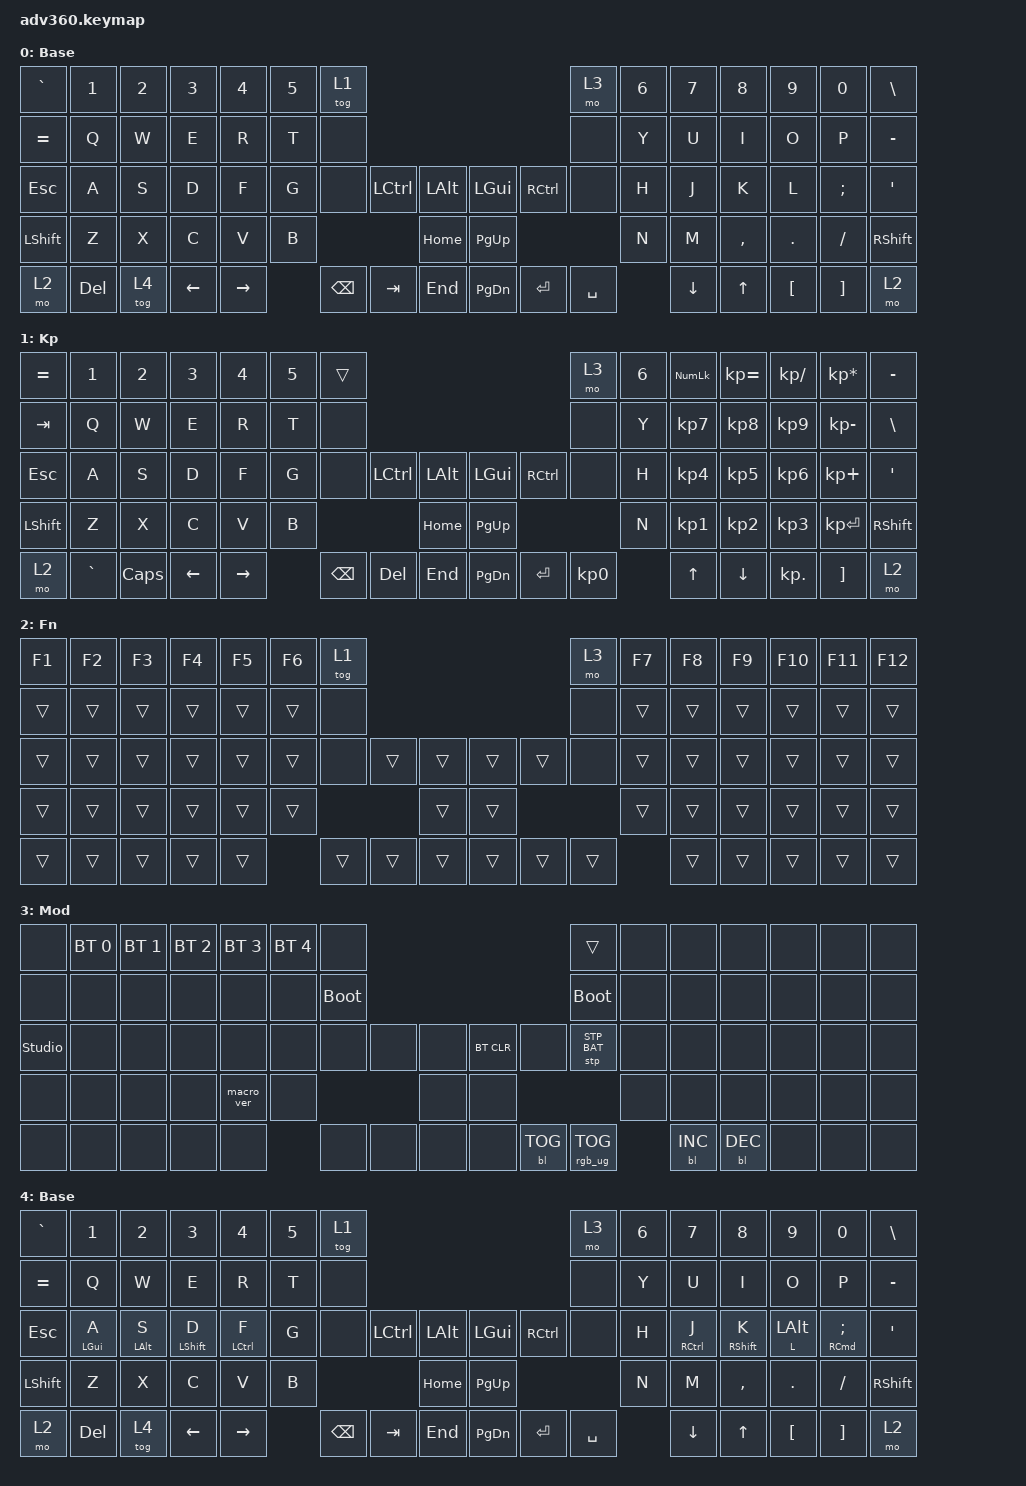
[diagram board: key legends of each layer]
#include <dt-bindings/zmk/stp.h>
#include <behaviors.dtsi>
#include <dt-bindings/zmk/backlight.h>
#include <dt-bindings/zmk/bt.h>
#include <dt-bindings/zmk/keys.h>
#include <dt-bindings/zmk/rgb.h>

/ {
    behaviors {
        #include "macros.dtsi"
      #include "version.dtsi"

        hm: homerow_mods {
            compatible = "zmk,behavior-hold-tap";
            label = "HOMEROW_MODS";
            #binding-cells = <2>;
            tapping-term-ms = <200>;
            quick_tap_ms = <175>;
            flavor = "tap-preferred";
            bindings = <&kp>, <&kp>;
        };

        ahm: alt_homerow_mods {
            compatible = "zmk,behavior-hold-tap";
            label = "ALT_HOMEROW_MODS";
            bindings = <&kp>, <&kp>;

            #binding-cells = <2>;
            tapping-term-ms = <200>;
            quick-tap-ms = <175>;
            require-prior-idle-ms = <125>;
            flavor = "balanced";
        };

        shm: shift_homerow-mods {
            compatible = "zmk,behavior-hold-tap";
            label = "SHIFT_HOMEROW-MODS";
            bindings = <&kp>, <&kp>;

            #binding-cells = <2>;
            tapping-term-ms = <175>;
            quick-tap-ms = <175>;
            flavor = "balanced";
        };

        chm: cntrl_homerow_mods {
            compatible = "zmk,behavior-hold-tap";
            label = "CNTRL_HOMEROW_MODS";
            bindings = <&kp>, <&kp>;

            #binding-cells = <2>;
            tapping-term-ms = <175>;
            quick-tap-ms = <175>;
            flavor = "balanced";
        };

        lghm: lgui_homerow_mods {
            compatible = "zmk,behavior-hold-tap";
            label = "LGUI_HOMEROW_MODS";
            bindings = <&kp>, <&kp>;

            #binding-cells = <2>;
            tapping-term-ms = <350>;
            quick-tap-ms = <175>;
            flavor = "tap-preferred";
        };

        rghm: rgui_homerow_mods {
            compatible = "zmk,behavior-hold-tap";
            label = "RGUI_HOMEROW_MODS";
            bindings = <&kp>, <&kp>;

            #binding-cells = <2>;
            tapping-term-ms = <200>;
            quick-tap-ms = <175>;
            flavor = "tap-preferred";
        };
    };

    keymap {
        compatible = "zmk,keymap";

        default_layer {
            display-name = "Base";
            bindings = <
&kp GRAVE  &kp N1   &kp N2  &kp N3    &kp N4     &kp N5  &tog 1                                                   &mo 3      &kp N6  &kp N7    &kp N8     &kp N9    &kp N0    &kp BSLH
&kp EQUAL  &kp Q    &kp W   &kp E     &kp R      &kp T   &none                                                    &none      &kp Y   &kp U     &kp I      &kp O     &kp P     &kp MINUS
&kp ESC    &kp A    &kp S   &kp D     &kp F      &kp G   &none     &kp LCTRL  &kp LALT      &kp LGUI   &kp RCTRL  &none      &kp H   &kp J     &kp K      &kp L     &kp SEMI  &kp SQT
&kp LSHFT  &kp Z    &kp X   &kp C     &kp V      &kp B                        &kp HOME      &kp PG_UP                        &kp N   &kp M     &kp COMMA  &kp DOT   &kp FSLH  &kp RSHFT
&mo 2      &kp DEL  &tog 4  &kp LEFT  &kp RIGHT          &kp BSPC  &kp TAB    &kp END       &kp PG_DN  &kp ENTER  &kp SPACE          &kp DOWN  &kp UP     &kp LBKT  &kp RBKT  &mo 2
            >;
        };

        keypad {
            display-name = "Kp";
            bindings = <
&kp EQUAL  &kp N1     &kp N2    &kp N3    &kp N4     &kp N5  &trans                                                   &mo 3      &kp N6  &kp KP_NUM  &kp KP_EQUAL  &kp KP_DIVIDE  &kp KP_MULTIPLY  &kp MINUS
&kp TAB    &kp Q      &kp W     &kp E     &kp R      &kp T   &none                                                    &none      &kp Y   &kp KP_N7   &kp KP_N8     &kp KP_N9      &kp KP_MINUS     &kp BSLH
&kp ESC    &kp A      &kp S     &kp D     &kp F      &kp G   &none     &kp LCTRL  &kp LALT      &kp LGUI   &kp RCTRL  &none      &kp H   &kp KP_N4   &kp KP_N5     &kp KP_N6      &kp KP_PLUS      &kp SQT
&kp LSHFT  &kp Z      &kp X     &kp C     &kp V      &kp B                        &kp HOME      &kp PG_UP                        &kp N   &kp KP_N1   &kp KP_N2     &kp KP_N3      &kp KP_ENTER     &kp RSHFT
&mo 2      &kp GRAVE  &kp CAPS  &kp LEFT  &kp RIGHT          &kp BSPC  &kp DEL    &kp END       &kp PG_DN  &kp ENTER  &kp KP_N0          &kp UP      &kp DOWN      &kp KP_DOT     &kp RBKT         &mo 2
            >;
        };

        fn {
            display-name = "Fn";
            bindings = <
&kp F1  &kp F2  &kp F3  &kp F4  &kp F5  &kp F6  &tog 1                                      &mo 3   &kp F7  &kp F8  &kp F9  &kp F10  &kp F11  &kp F12
&trans  &trans  &trans  &trans  &trans  &trans  &none                                       &none   &trans  &trans  &trans  &trans   &trans   &trans
&trans  &trans  &trans  &trans  &trans  &trans  &none   &trans  &trans      &trans  &trans  &none   &trans  &trans  &trans  &trans   &trans   &trans
&trans  &trans  &trans  &trans  &trans  &trans                  &trans      &trans                  &trans  &trans  &trans  &trans   &trans   &trans
&trans  &trans  &trans  &trans  &trans          &trans  &trans  &trans      &trans  &trans  &trans          &trans  &trans  &trans   &trans   &trans
            >;
        };

        mod {
            display-name = "Mod";
            bindings = <
&none           &bt BT_SEL 0  &bt BT_SEL 1  &bt BT_SEL 2  &bt BT_SEL 3  &bt BT_SEL 4  &none                                                  &trans           &none  &none       &none       &none  &none  &none
&none           &none         &none         &none         &none         &none         &bootloader                                            &bootloader      &none  &none       &none       &none  &none  &none
&studio_unlock  &none         &none         &none         &none         &none         &none        &none  &none      &bt BT_CLR  &none       &stp STP_BAT     &none  &none       &none       &none  &none  &none
&none           &none         &none         &none         &macro_ver    &none                             &none      &none                                    &none  &none       &none       &none  &none  &none
&none           &none         &none         &none         &none                       &none        &none  &none      &none       &bl BL_TOG  &rgb_ug RGB_TOG         &bl BL_INC  &bl BL_DEC  &none  &none  &none
            >;
        };

        homerow_mods {
            display-name = "Base";
            bindings = <
&kp GRAVE  &kp N1        &kp N2       &kp N3        &kp N4        &kp N5  &tog 1                                                   &mo 3      &kp N6  &kp N7        &kp N8        &kp N9       &kp N0           &kp BSLH
&kp EQUAL  &kp Q         &kp W        &kp E         &kp R         &kp T   &none                                                    &none      &kp Y   &kp U         &kp I         &kp O        &kp P            &kp MINUS
&kp ESC    &lghm LGUI A  &ahm LALT S  &shm LSHFT D  &chm LCTRL F  &kp G   &none     &kp LCTRL  &kp LALT      &kp LGUI   &kp RCTRL  &none      &kp H   &chm RCTRL J  &shm RSHFT K  &ahm L LALT  &rghm RCMD SEMI  &kp SQT
&kp LSHFT  &kp Z         &kp X        &kp C         &kp V         &kp B                        &kp HOME      &kp PG_UP                        &kp N   &kp M         &kp COMMA     &kp DOT      &kp FSLH         &kp RSHFT
&mo 2      &kp DEL       &tog 4       &kp LEFT      &kp RIGHT             &kp BSPC  &kp TAB    &kp END       &kp PG_DN  &kp ENTER  &kp SPACE          &kp DOWN      &kp UP        &kp LBKT     &kp RBKT         &mo 2
            >;
        };
    };
};
